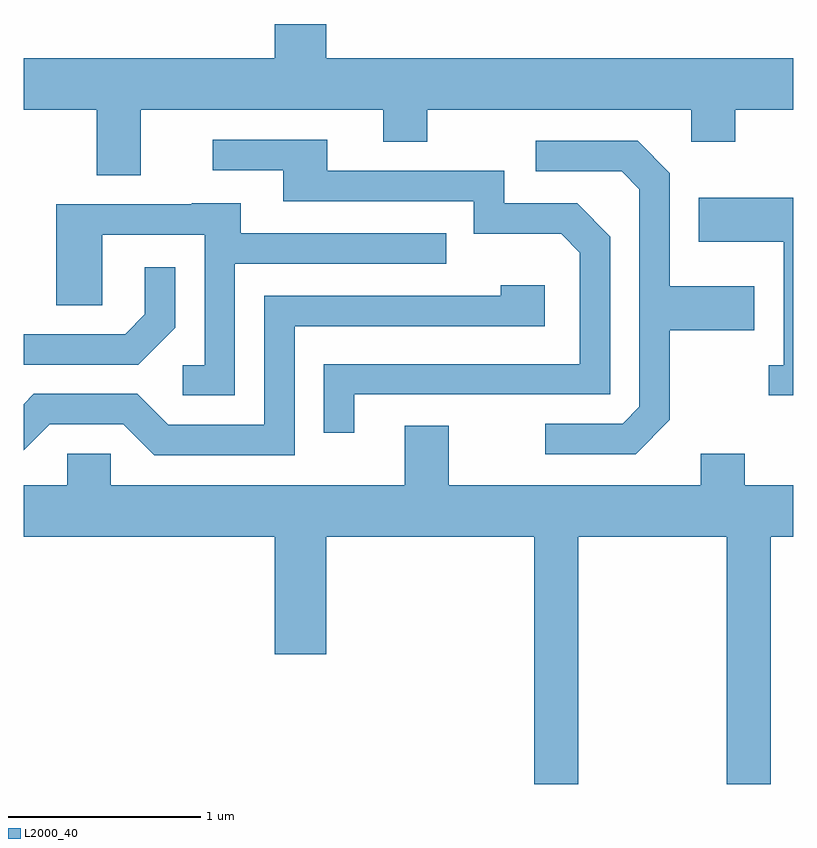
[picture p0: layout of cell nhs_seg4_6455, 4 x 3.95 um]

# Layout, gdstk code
import gdstk
lib = gdstk.Library(unit=1e-6, precision=1e-09)
def P(c, l, *ps):  # polygons
    for p in ps: c.add(gdstk.Polygon(p, *l))
L2000_40 = (2000, 40)

nhs_seg4_6455 = lib.new_cell('nhs_seg4_6455')
P(nhs_seg4_6455, L2000_40, [(374.219,1383.536),(375.481,1383.536),(375.481,1383.371),(375.709,1383.371),(375.709,1383.536),(377.081,1383.536),(377.081,1383.371),(377.309,1383.371),(377.309,1383.536),(377.611,1383.536),(377.611,1383.804),(375.184,1383.804),(375.184,1383.982),(374.916,1383.982),(374.916,1383.804),(373.611,1383.804),(373.611,1383.536),(373.991,1383.536),(373.991,1383.196),(374.219,1383.196)],
  [(375.329,1382.056),(376.659,1382.056),(376.659,1382.877),(376.487,1383.049),(376.109,1383.049),(376.109,1383.219),(375.189,1383.219),(375.189,1383.379),(374.593,1383.379),(374.593,1383.221),(374.961,1383.221),(374.961,1383.061),(375.951,1383.061),(375.951,1382.891),(376.404,1382.891),(376.501,1382.794),(376.501,1382.214),(375.171,1382.214),(375.171,1381.858),(375.329,1381.858)],
  [(376.969,1381.924),(376.969,1382.391),(377.409,1382.391),(377.409,1382.619),(376.969,1382.619),(376.969,1383.207),(376.802,1383.374),(376.273,1383.374),(376.273,1383.216),(376.719,1383.216),(376.811,1383.124),(376.811,1381.992),(376.724,1381.904),(376.323,1381.904),(376.323,1381.746),(376.792,1381.746)],
  [(377.611,1383.079),(377.121,1383.079),(377.121,1382.851),(377.561,1382.851),(377.561,1382.209),(377.483,1382.209),(377.483,1382.051),(377.611,1382.051)],
  [(374.709,1382.736),(375.808,1382.736),(375.808,1382.894),(374.739,1382.894),(374.739,1383.049),(374.485,1383.049),(374.485,1383.044),(373.781,1383.044),(373.781,1382.521),(374.019,1382.521),(374.019,1382.886),(374.551,1382.886),(374.551,1382.209),(374.438,1382.209),(374.438,1382.051),(374.709,1382.051)],
  [(374.399,1382.404),(374.399,1382.718),(374.241,1382.718),(374.241,1382.472),(374.139,1382.369),(373.611,1382.369),(373.611,1382.211),(374.207,1382.211)],
  [(375.019,1382.411),(376.319,1382.411),(376.319,1382.624),(376.091,1382.624),(376.091,1382.569),(374.861,1382.569),(374.861,1381.899),(374.362,1381.899),(374.202,1382.059),(373.664,1382.059),(373.611,1382.006),(373.611,1381.765),(373.747,1381.901),(374.129,1381.901),(374.289,1381.741),(375.019,1381.741)],
  [(376.494,1381.316),(377.266,1381.316),(377.266,1380.031),(377.494,1380.031),(377.494,1381.316),(377.611,1381.316),(377.611,1381.584),(377.359,1381.584),(377.359,1381.749),(377.131,1381.749),(377.131,1381.584),(375.819,1381.584),(375.819,1381.894),(375.591,1381.894),(375.591,1381.584),(374.064,1381.584),(374.064,1381.749),(373.836,1381.749),(373.836,1381.584),(373.611,1381.584),(373.611,1381.316),(374.916,1381.316),(374.916,1380.706),(375.184,1380.706),(375.184,1381.316),(376.266,1381.316),(376.266,1380.031),(376.494,1380.031)])

lib.write_gds('nhs_seg4_6455.gds')
